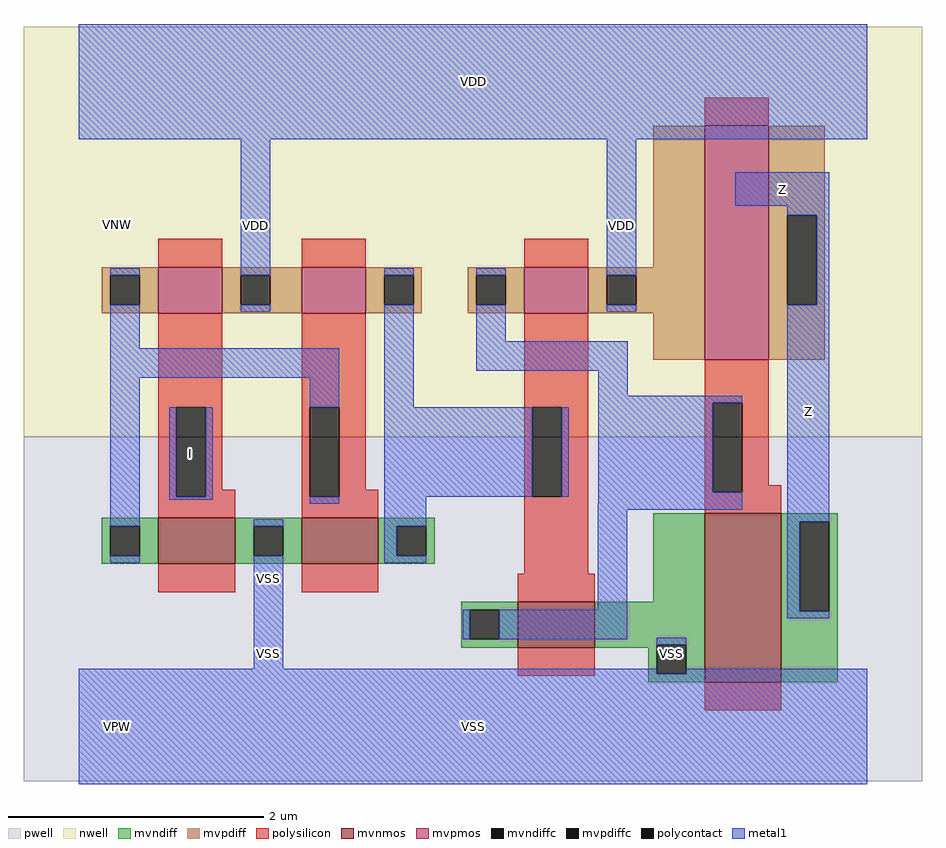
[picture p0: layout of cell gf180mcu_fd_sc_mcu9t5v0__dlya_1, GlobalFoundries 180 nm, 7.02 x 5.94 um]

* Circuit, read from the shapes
.subckt gf180mcu_fd_sc_mcu9t5v0__dlya_1 I Z VDD VNW VPW VSS
XM1 VSS I n1 VPW nfet_06v0 w=0.36u l=0.6u
XM2 n2 n1 VSS VPW nfet_06v0 w=0.36u l=0.6u
XM3 VSS n2 n3 VPW nfet_06v0 w=0.36u l=0.6u
XM4 Z n3 VSS VPW nfet_06v0 w=1.32u l=0.6u
XM5 VDD I n1 VNW pfet_06v0 w=0.36u l=0.5u
XM6 n2 n1 VDD VNW pfet_06v0 w=0.36u l=0.5u
XM7 VDD n2 n3 VNW pfet_06v0 w=0.36u l=0.5u
XM8 Z n3 VDD VNW pfet_06v0 w=1.83u l=0.5u
.ends

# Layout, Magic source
magic
tech gf180mcuD
magscale 1 10
<< nwell >>
rect -86 453 1318 1094
<< pwell >>
rect -86 -86 1318 453
<< mvnmos >>
rect 124 254 244 326
rect 348 254 468 326
rect 686 123 806 195
rect 978 69 1098 333
<< mvpmos >>
rect 124 646 224 718
rect 348 646 448 718
rect 696 646 796 718
rect 978 573 1078 939
<< mvndiff >>
rect 36 313 124 326
rect 36 267 49 313
rect 95 267 124 313
rect 36 254 124 267
rect 244 313 348 326
rect 244 267 273 313
rect 319 267 348 313
rect 244 254 348 267
rect 468 313 556 326
rect 468 267 497 313
rect 543 267 556 313
rect 468 254 556 267
rect 898 195 978 333
rect 598 182 686 195
rect 598 136 611 182
rect 657 136 686 182
rect 598 123 686 136
rect 806 128 978 195
rect 806 123 903 128
rect 890 82 903 123
rect 949 82 978 128
rect 890 69 978 82
rect 1098 320 1186 333
rect 1098 180 1127 320
rect 1173 180 1186 320
rect 1098 69 1186 180
<< mvpdiff >>
rect 898 718 978 939
rect 36 705 124 718
rect 36 659 49 705
rect 95 659 124 705
rect 36 646 124 659
rect 224 705 348 718
rect 224 659 253 705
rect 299 659 348 705
rect 224 646 348 659
rect 448 705 536 718
rect 448 659 477 705
rect 523 659 536 705
rect 448 646 536 659
rect 608 705 696 718
rect 608 659 621 705
rect 667 659 696 705
rect 608 646 696 659
rect 796 705 978 718
rect 796 659 825 705
rect 871 659 978 705
rect 796 646 978 659
rect 898 573 978 646
rect 1078 799 1166 939
rect 1078 659 1107 799
rect 1153 659 1166 799
rect 1078 573 1166 659
<< mvndiffc >>
rect 49 267 95 313
rect 273 267 319 313
rect 497 267 543 313
rect 611 136 657 182
rect 903 82 949 128
rect 1127 180 1173 320
<< mvpdiffc >>
rect 49 659 95 705
rect 253 659 299 705
rect 477 659 523 705
rect 621 659 667 705
rect 825 659 871 705
rect 1107 659 1153 799
<< polysilicon >>
rect 978 939 1078 983
rect 124 718 224 762
rect 348 718 448 762
rect 696 718 796 762
rect 124 499 224 646
rect 124 359 152 499
rect 198 370 224 499
rect 348 499 448 646
rect 198 359 244 370
rect 124 326 244 359
rect 348 359 361 499
rect 407 370 448 499
rect 696 499 796 646
rect 407 359 468 370
rect 348 326 468 359
rect 696 359 709 499
rect 755 359 796 499
rect 124 210 244 254
rect 348 210 468 254
rect 696 239 796 359
rect 978 506 1078 573
rect 978 366 991 506
rect 1037 377 1078 506
rect 1037 366 1098 377
rect 978 333 1098 366
rect 686 195 806 239
rect 686 79 806 123
rect 978 25 1098 69
<< polycontact >>
rect 152 359 198 499
rect 361 359 407 499
rect 709 359 755 499
rect 991 366 1037 506
<< metal1 >>
rect 0 918 1232 1098
rect 49 705 95 716
rect 49 591 95 659
rect 253 705 299 918
rect 253 648 299 659
rect 477 705 523 716
rect 49 545 407 591
rect 49 313 95 545
rect 361 499 407 545
rect 141 359 152 499
rect 198 359 209 499
rect 141 354 209 359
rect 361 348 407 359
rect 477 499 523 659
rect 621 705 667 716
rect 621 602 667 659
rect 825 705 871 918
rect 1026 814 1173 866
rect 825 648 871 659
rect 1107 799 1173 814
rect 1153 659 1173 799
rect 621 556 858 602
rect 812 517 858 556
rect 812 506 1037 517
rect 477 359 709 499
rect 755 359 766 499
rect 812 366 991 506
rect 49 256 95 267
rect 273 313 319 324
rect 273 90 319 267
rect 477 313 543 359
rect 812 349 1037 366
rect 477 267 497 313
rect 477 256 543 267
rect 811 339 1037 349
rect 811 182 857 339
rect 600 136 611 182
rect 657 136 857 182
rect 1107 320 1173 659
rect 1107 180 1127 320
rect 1107 169 1173 180
rect 903 128 949 139
rect 0 82 903 90
rect 949 82 1232 90
rect 0 -90 1232 82
<< labels >>
flabel metal1 s 141 354 209 499 0 FreeSans 200 0 0 0 I
port 1 nsew default input
flabel metal1 s 0 918 1232 1098 0 FreeSans 200 0 0 0 VDD
port 3 nsew power bidirectional abutment
flabel metal1 s 273 139 319 324 0 FreeSans 200 0 0 0 VSS
port 6 nsew ground bidirectional abutment
flabel metal1 s 1026 814 1173 866 0 FreeSans 200 0 0 0 Z
port 2 nsew default output
flabel nwell s 10 734 110 834 0 FreeSans 400 0 0 0 VNW
port 4 nsew power bidirectional
flabel pwell s 10 -50 110 50 0 FreeSans 400 0 0 0 VPW
port 5 nsew ground bidirectional
rlabel metal1 s 1107 169 1173 814 1 Z
port 2 nsew default output
rlabel metal1 s 825 648 871 918 1 VDD
port 3 nsew power bidirectional abutment
rlabel metal1 s 253 648 299 918 1 VDD
port 3 nsew power bidirectional abutment
rlabel metal1 s 903 90 949 139 1 VSS
port 6 nsew ground bidirectional abutment
rlabel metal1 s 273 90 319 139 1 VSS
port 6 nsew ground bidirectional abutment
rlabel metal1 s 0 -90 1232 90 1 VSS
port 6 nsew ground bidirectional abutment
<< properties >>
string FIXED_BBOX 0 0 1232 1008
string GDS_END 697496
string GDS_FILE $PDKPATH/libs.ref/gf180mcu_fd_sc_mcu9t5v0/gds/gf180mcu_fd_sc_mcu9t5v0.gds
string GDS_START 693506
string LEFclass core
string LEFsite GF018hv5v_green_sc9
string LEFsymmetry X Y
string MASKHINTS_DUALGATE -56 1063 1288 1064 -56 987 898 1063 1158 987 1288 1063 -56 842 850 987 -56 766 44 842 528 766 616 842 -56 598 -12 766 -56 374 44 598 528 450 616 598 1214 525 1288 987 1178 381 1288 525 -56 206 -12 374 -56 130 44 206 -56 75 550 130 -56 -1 606 75 1234 21 1288 381 -56 -55 898 -1 1178 -55 1288 21 -56 -56 1288 -55
string MASKHINTS_NPLUS -40 379 1272 453 -40 372 932 379 -40 358 78 372 514 365 932 372 1144 365 1272 379 514 358 866 365 -40 222 4 358 588 241 866 358 -40 208 78 222 -40 91 566 208 -40 77 640 91 -40 37 858 77 1218 37 1272 365 -40 23 932 37 1144 23 1272 37 -40 -40 1272 23
string MASKHINTS_PPLUS -40 985 1272 1048 -40 971 932 985 1124 971 1272 985 -40 764 866 971 -40 750 78 764 494 750 650 764 -40 614 4 750 -40 600 78 614 494 600 650 614 -40 541 866 600 1198 541 1272 971 -40 527 932 541 1124 527 1272 541 -40 453 1272 527
<< end >>
